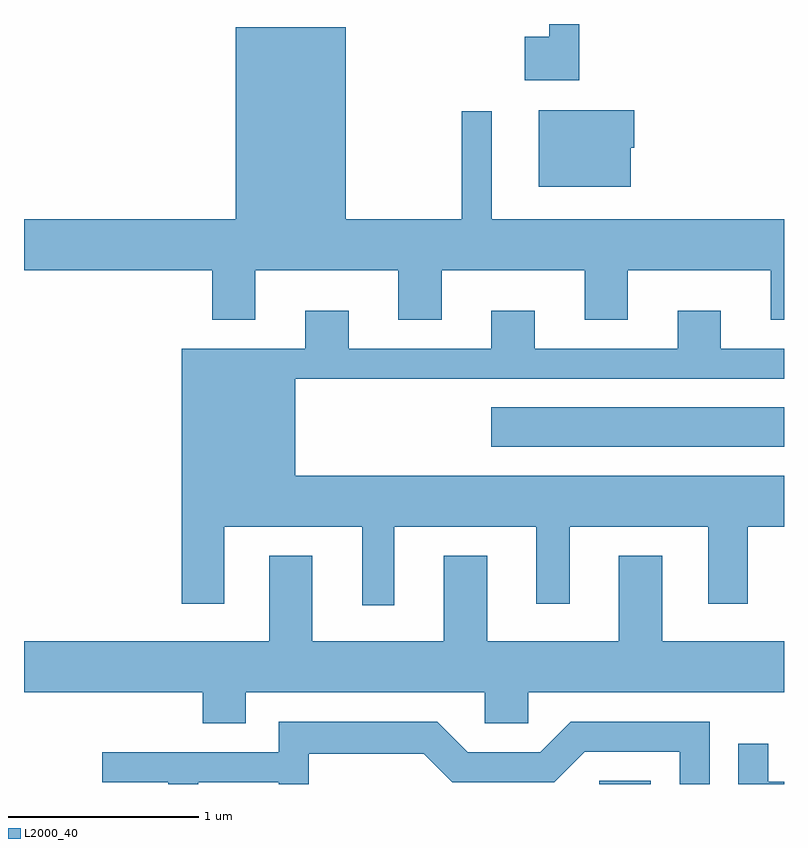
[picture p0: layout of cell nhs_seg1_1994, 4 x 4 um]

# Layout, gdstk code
import gdstk
lib = gdstk.Library(unit=1e-6, precision=1e-09)
def R(c, l, rs):  # rectangles x0, y0, x1, y1
    for r in rs: c.add(gdstk.rectangle(r[:2], r[2:], *l))
def P(c, l, *ps):  # polygons
    for p in ps: c.add(gdstk.Polygon(p, *l))
L2000_40 = (2000, 40)

nhs_seg1_1994 = lib.new_cell('nhs_seg1_1994')
R(nhs_seg1_1994, L2000_40, [(248.638,945.712,248.909,945.729), (248.071,947.486,249.611,947.694)])
P(nhs_seg1_1994, L2000_40, [(248.534,949.712),(248.376,949.712),(248.376,949.644),(248.246,949.644),(248.246,949.416),(248.534,949.416)],
  [(246.829,948.416),(247.581,948.416),(247.581,948.156),(247.809,948.156),(247.809,948.416),(248.561,948.416),(248.561,948.156),(248.789,948.156),(248.789,948.416),(249.541,948.416),(249.541,948.156),(249.611,948.156),(249.611,948.684),(248.074,948.684),(248.074,949.253),(247.916,949.253),(247.916,948.684),(247.304,948.684),(247.304,949.694),(246.726,949.694),(246.726,948.684),(245.611,948.684),(245.611,948.416),(246.601,948.416),(246.601,948.156),(246.829,948.156)],
  [(248.804,949.061),(248.824,949.061),(248.824,949.259),(248.321,949.259),(248.321,948.856),(248.804,948.856)],
  [(247.559,947.066),(248.306,947.066),(248.306,946.661),(248.484,946.661),(248.484,947.066),(249.211,947.066),(249.211,946.661),(249.419,946.661),(249.419,947.066),(249.611,947.066),(249.611,947.334),(247.039,947.334),(247.039,947.846),(249.611,947.846),(249.611,948.004),(249.279,948.004),(249.279,948.204),(249.051,948.204),(249.051,948.004),(248.299,948.004),(248.299,948.204),(248.071,948.204),(248.071,948.004),(247.319,948.004),(247.319,948.204),(247.091,948.204),(247.091,948.004),(246.441,948.004),(246.441,946.661),(246.664,946.661),(246.664,947.066),(247.391,947.066),(247.391,946.653),(247.559,946.653)],
  [(246.779,946.196),(248.036,946.196),(248.036,946.031),(248.264,946.031),(248.264,946.196),(249.611,946.196),(249.611,946.464),(248.969,946.464),(248.969,946.914),(248.741,946.914),(248.741,946.464),(248.049,946.464),(248.049,946.914),(247.821,946.914),(247.821,946.464),(247.129,946.464),(247.129,946.914),(246.901,946.914),(246.901,946.464),(245.611,946.464),(245.611,946.196),(246.551,946.196),(246.551,946.031),(246.779,946.031)],
  [(246.529,945.721),(246.951,945.721),(246.951,945.712),(247.109,945.712),(247.109,945.871),(247.714,945.871),(247.864,945.721),(248.402,945.721),(248.562,945.881),(249.061,945.881),(249.061,945.712),(249.219,945.712),(249.219,946.039),(248.489,946.039),(248.329,945.879),(247.947,945.879),(247.787,946.039),(246.951,946.039),(246.951,945.879),(246.023,945.879),(246.023,945.721),(246.371,945.721),(246.371,945.712),(246.529,945.712)],
  [(249.611,945.724),(249.529,945.724),(249.529,945.923),(249.371,945.923),(249.371,945.712),(249.611,945.712)])

lib.write_gds('nhs_seg1_1994.gds')
